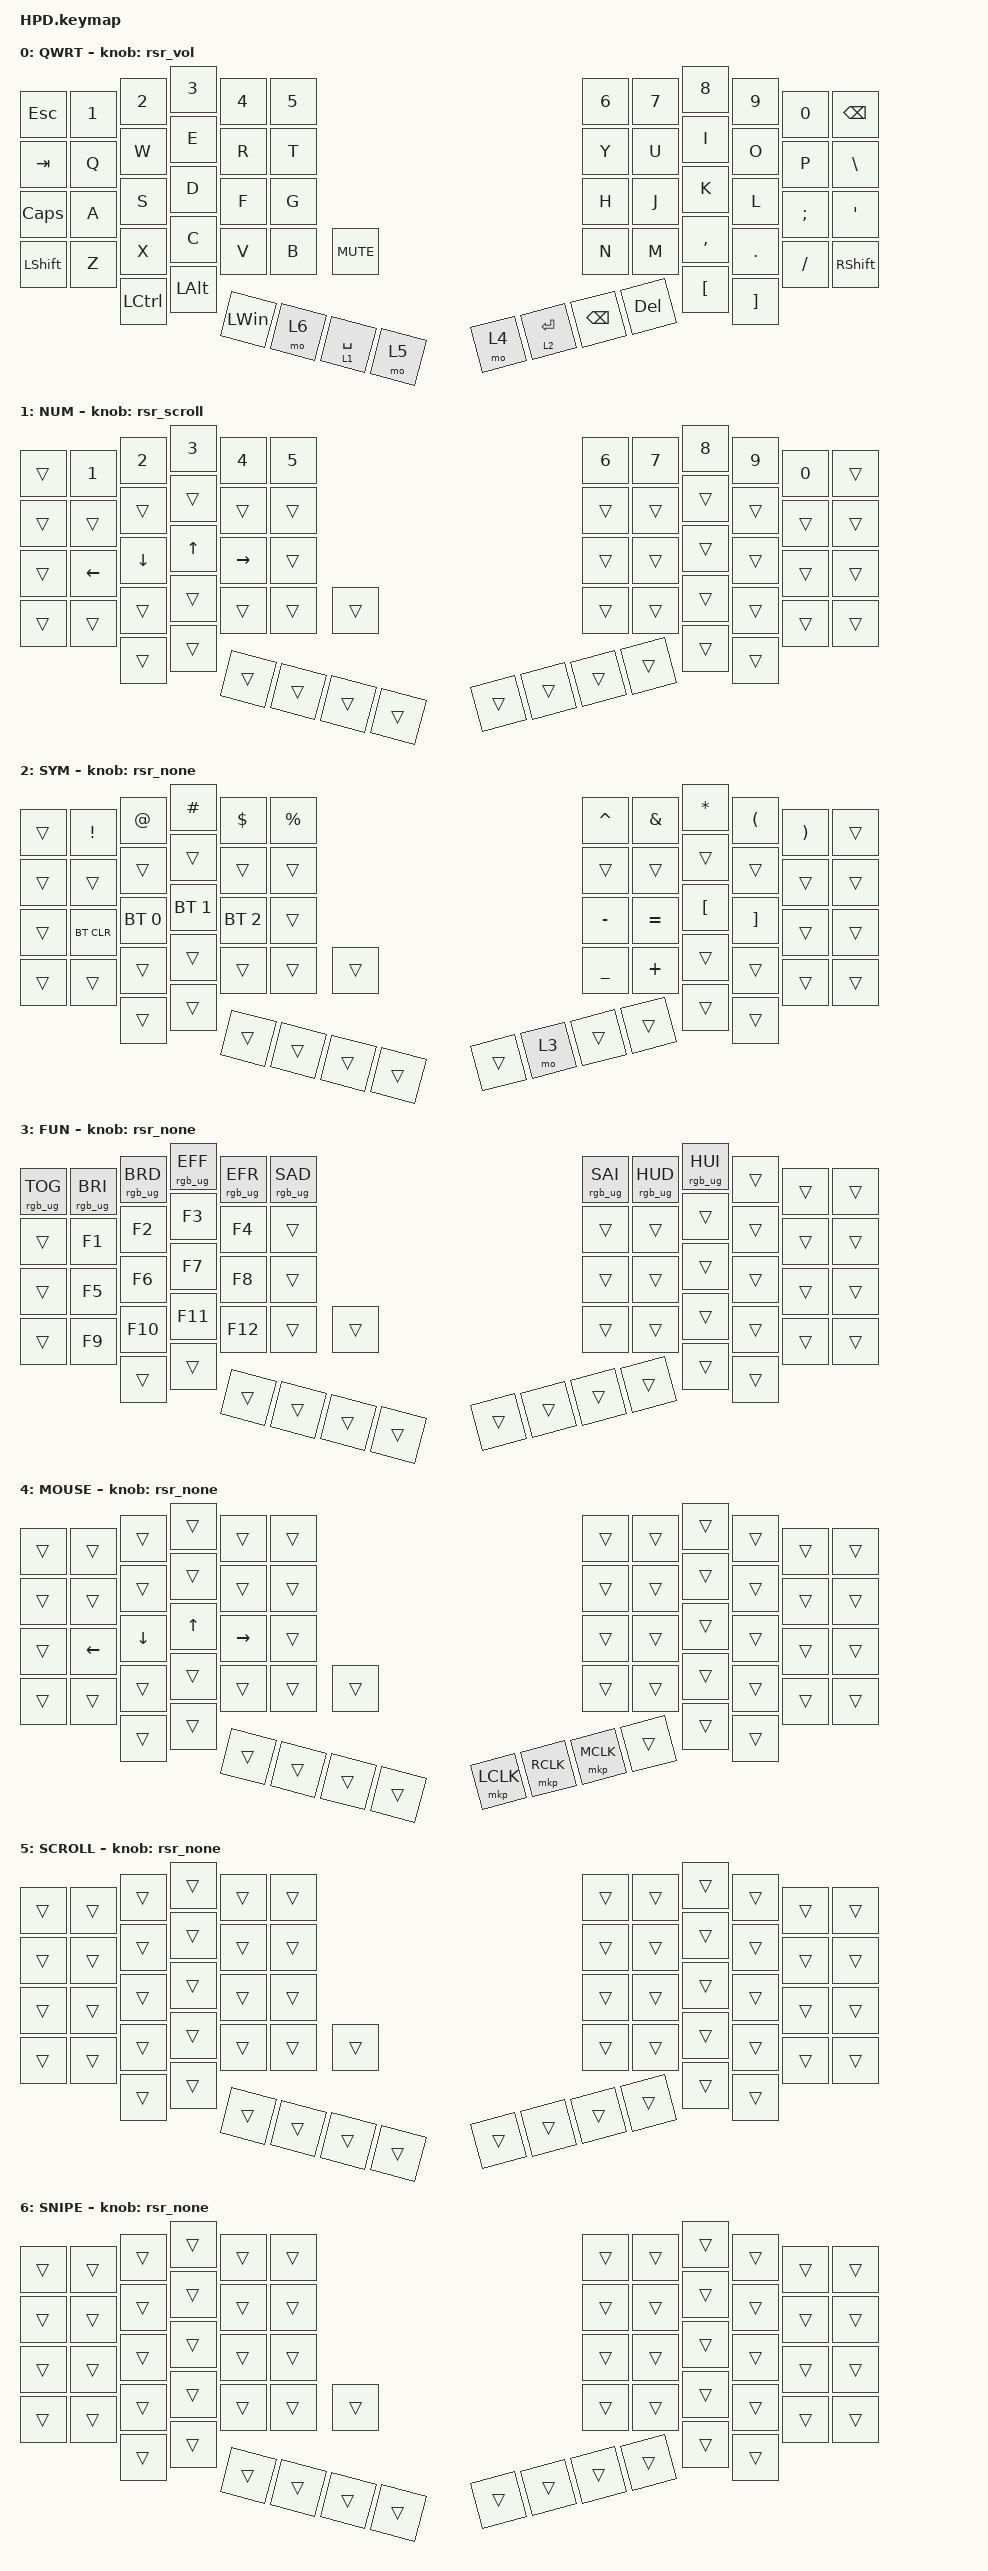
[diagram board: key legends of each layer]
// Pointer speed is tuned via the &mmv / &msc DT property overrides below
// (ZMK_POINTING_DEFAULT_* Kconfig symbols do not exist on this base).

#include <behaviors/mouse_keys.dtsi>
#include <dt-bindings/zmk/mouse.h>
#include <input/processors.dtsi>
#include <zephyr/dt-bindings/input/input-event-codes.h>
#include <behaviors.dtsi>
#include <behaviors/runtime_macro.dtsi>
#include <dt-bindings/zmk/runtime_input_processor.h>
#include <behaviors/runtime-input-processor.dtsi>
#include <dt-bindings/zmk/bt.h>
#include <dt-bindings/zmk/keys.h>
#include <dt-bindings/zmk/pointing.h>
#include <dt-bindings/zmk/rgb.h>

&mmv_input_listener { input-processors = <&zip_xy_scaler 2 1>; };

&msc_input_listener { input-processors = <&zip_scroll_scaler 1 2>; };

&msc {
    acceleration-exponent = <1>;      // 0
    time-to-max-speed-ms = <100>;       // 300
    delay-ms = <0>;                   // 0
};

&mmv {
    time-to-max-speed-ms = <500>;
    acceleration-exponent = <1>;
    trigger-period-ms = <16>;
};

/*
 * Runtime sensor rotate
 * https://github.com/cormoran/zmk-behavior-runtime-sensor-rotate
 *
 * The encoder binding becomes editable per layer from DYA Studio's "Sensor
 * rotation" tab, over the custom RPC subsystem "cormoran_rsr". The
 * cw-/ccw-binding properties are the device-tree fallbacks used until a
 * runtime binding has been saved for that layer; they reproduce the static
 * bindings they replace, so the encoder behaves exactly as before out of the
 * box (tap-ms omitted = the behavior default of 5ms, same as &inc_dec_kp).
 *
 * Every layer must bind one of these in its sensor-bindings - a layer that
 * binds &trans (or omits the property) is invisible to the runtime
 * configuration, because the module's process hook never runs there.
 */
/ {
    rsr_vol: rsr_vol {
        compatible = "zmk,behavior-runtime-sensor-rotate";
        #sensor-binding-cells = <0>;
        cw-binding = <&kp K_VOLUME_UP>;
        ccw-binding = <&kp K_VOLUME_DOWN>;
    };

    rsr_scroll: rsr_scroll {
        compatible = "zmk,behavior-runtime-sensor-rotate";
        #sensor-binding-cells = <0>;
        tap-ms = <100>;
        cw-binding = <&msc SCRL_DOWN>;
        ccw-binding = <&msc SCRL_UP>;
    };

    /* No default bindings: transparent until a layer is configured at runtime. */
    rsr_none: rsr_none {
        compatible = "zmk,behavior-runtime-sensor-rotate";
        #sensor-binding-cells = <0>;
    };
};

&lt {
    tapping-term-ms = <240>;
    flavor = "balanced";
    quick-tap-ms = <150>;
};

&mt {
    tapping-term-ms = <200>;
    flavor = "tap-preferred";
    quick-tap-ms = <150>;
};

/ {
    behaviors {
    };

    keymap {
        compatible = "zmk,keymap";

        default_layer {
            label = "QWRT";
            bindings = <
&kp ESC      &kp N1  &kp N2     &kp N3        &kp N4        &kp N5      &kp N6         &kp N7      &kp N8     &kp N9    &kp N0    &kp BSPC
&kp TAB      &kp Q   &kp W      &kp E         &kp R         &kp T       &kp Y          &kp U       &kp I      &kp O     &kp P     &kp BSLH
&kp CAPS     &kp A   &kp S      &kp D         &kp F         &kp G       &kp H          &kp J       &kp K      &kp L     &kp SEMI  &kp SQT
&kp LSHFT    &kp Z   &kp X      &kp C         &kp V         &kp B       &kp N          &kp M       &kp COMMA  &kp DOT   &kp FSLH  &kp RSHFT
&lt 1 SPACE  &mo 5   &kp LCTRL  &kp LEFT_ALT  &kp LEFT_WIN  &mo 6       &kp BACKSPACE  &kp DELETE  &kp LBKT   &kp RBKT  &mo 4     &lt 2 ENTER
                                                            &kp K_MUTE
            >;

            sensor-bindings = <&rsr_vol>;
        };

        number_layer {
            bindings = <
&trans  &kp N1    &kp N2    &kp N3  &kp N4     &kp N5  &kp N6  &kp N7  &kp N8  &kp N9  &kp N0  &trans
&trans  &trans    &trans    &trans  &trans     &trans  &trans  &trans  &trans  &trans  &trans  &trans
&trans  &kp LEFT  &kp DOWN  &kp UP  &kp RIGHT  &trans  &trans  &trans  &trans  &trans  &trans  &trans
&trans  &trans    &trans    &trans  &trans     &trans  &trans  &trans  &trans  &trans  &trans  &trans
&trans  &trans    &trans    &trans  &trans     &trans  &trans  &trans  &trans  &trans  &trans  &trans
                                               &trans
            >;

            label = "NUM";
            sensor-bindings = <&rsr_scroll>;
        };

        symbol_layer {
            label = "SYM";
            bindings = <
&trans  &kp EXCLAMATION  &kp AT_SIGN   &kp HASH      &kp DOLLAR    &kp PERCENT  &kp CARET       &kp AMPERSAND  &kp ASTERISK      &kp LEFT_PARENTHESIS  &kp RIGHT_PARENTHESIS  &trans
&trans  &trans           &trans        &trans        &trans        &trans       &trans          &trans         &trans            &trans                &trans                 &trans
&trans  &bt BT_CLR       &bt BT_SEL 0  &bt BT_SEL 1  &bt BT_SEL 2  &trans       &kp MINUS       &kp EQUAL      &kp LEFT_BRACKET  &kp RIGHT_BRACKET     &trans                 &trans
&trans  &trans           &trans        &trans        &trans        &trans       &kp UNDERSCORE  &kp PLUS       &trans            &trans                &trans                 &trans
&trans  &trans           &trans        &trans        &trans        &trans       &trans          &trans         &trans            &trans                &trans                 &mo 3
                                                                   &trans
            >;
            sensor-bindings = <&rsr_none>;
        };

        function_layer {
            label = "FUN";
            bindings = <
&rgb_ug RGB_TOG  &rgb_ug RGB_BRI  &rgb_ug RGB_BRD   &rgb_ug RGB_EFF  &rgb_ug RGB_EFR  &rgb_ug RGB_SAD  &rgb_ug RGB_SAI  &rgb_ug RGB_HUD  &rgb_ug RGB_HUI  &trans  &trans  &trans
&trans  &kp F1  &kp F2   &kp F3   &kp F4   &trans  &trans  &trans  &trans  &trans  &trans  &trans
&trans  &kp F5  &kp F6   &kp F7   &kp F8   &trans  &trans  &trans  &trans  &trans  &trans  &trans
&trans  &kp F9  &kp F10  &kp F11  &kp F12  &trans  &trans  &trans  &trans  &trans  &trans  &trans
&trans  &trans  &trans   &trans   &trans   &trans  &trans  &trans  &trans  &trans  &trans  &trans
                                           &trans
            >;
            sensor-bindings = <&rsr_none>;
        };

        mouse_layer {
            label = "MOUSE";
            bindings = <
&trans  &trans    &trans    &trans  &trans     &trans  &trans     &trans  &trans  &trans  &trans     &trans
&trans  &trans    &trans    &trans  &trans     &trans  &trans     &trans  &trans  &trans  &trans     &trans
&trans  &kp LEFT  &kp DOWN  &kp UP  &kp RIGHT  &trans  &trans     &trans  &trans  &trans  &trans     &trans
&trans  &trans    &trans    &trans  &trans     &trans  &trans     &trans  &trans  &trans  &trans     &trans
&trans  &trans    &trans    &trans  &trans     &trans  &mkp MCLK  &trans  &trans  &trans  &mkp LCLK  &mkp RCLK
                                               &trans
            >;
            sensor-bindings = <&rsr_none>;
        };

        scroll_layer {
            label = "SCROLL";
            bindings = <
&trans  &trans  &trans  &trans  &trans  &trans  &trans  &trans  &trans  &trans  &trans  &trans
&trans  &trans  &trans  &trans  &trans  &trans  &trans  &trans  &trans  &trans  &trans  &trans
&trans  &trans  &trans  &trans  &trans  &trans  &trans  &trans  &trans  &trans  &trans  &trans
&trans  &trans  &trans  &trans  &trans  &trans  &trans  &trans  &trans  &trans  &trans  &trans
&trans  &trans  &trans  &trans  &trans  &trans  &trans  &trans  &trans  &trans  &trans  &trans
                                        &trans
            >;
            sensor-bindings = <&rsr_none>;
        };

        snipe_layer {
            label = "SNIPE";
            bindings = <
&trans  &trans  &trans  &trans  &trans  &trans  &trans  &trans  &trans  &trans  &trans  &trans
&trans  &trans  &trans  &trans  &trans  &trans  &trans  &trans  &trans  &trans  &trans  &trans
&trans  &trans  &trans  &trans  &trans  &trans  &trans  &trans  &trans  &trans  &trans  &trans
&trans  &trans  &trans  &trans  &trans  &trans  &trans  &trans  &trans  &trans  &trans  &trans
&trans  &trans  &trans  &trans  &trans  &trans  &trans  &trans  &trans  &trans  &trans  &trans
                                        &trans
            >;
            sensor-bindings = <&rsr_none>;
        };
    };
};

&mouse_runtime_input_processor {
    temp-layer-enabled;
    temp-layer = <4>;
    temp-layer-activation-delay-ms = <0>;
    temp-layer-deactivation-delay-ms = <700>;
};

&scroll_runtime_input_processor {
    active-layers = <BIT(5)>;
    x-codes = <INPUT_REL_X>;
    y-codes = <INPUT_REL_Y>;
    xy-to-scroll-enabled;
    axis-snap-threshold = <100>;
};

&trackball {
    cpi = <400>;
};
